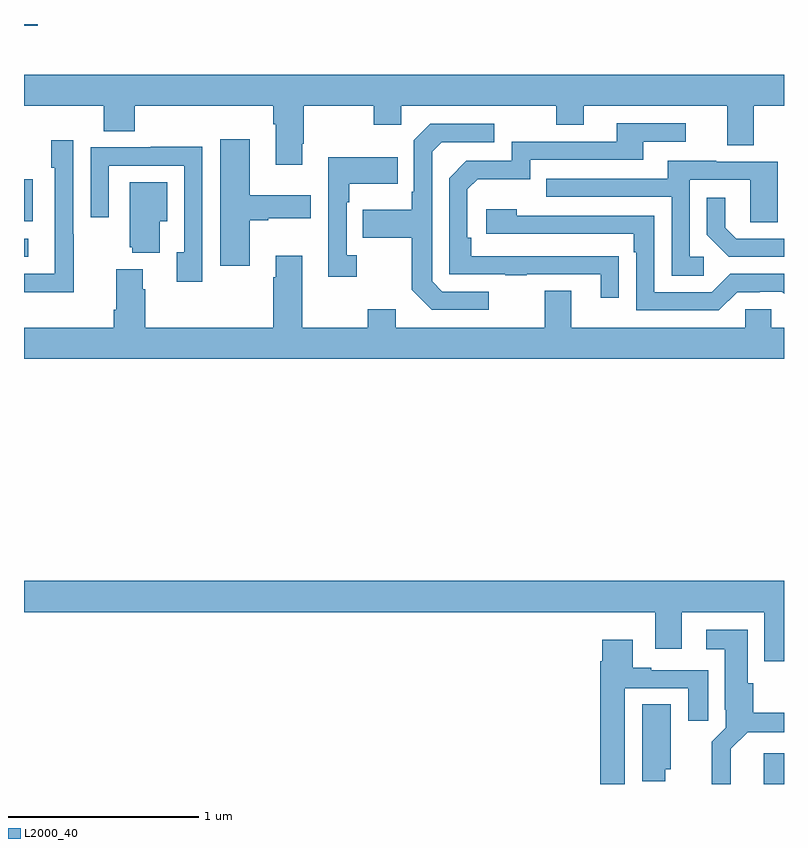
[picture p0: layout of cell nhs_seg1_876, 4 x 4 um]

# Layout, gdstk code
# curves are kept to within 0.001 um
import gdstk
lib = gdstk.Library(unit=1e-6, precision=1e-09)
def R(c, l, rs):  # rectangles x0, y0, x1, y1
    for r in rs: c.add(gdstk.rectangle(r[:2], r[2:], *l))
def P(c, l, *ps):  # polygons
    for p in ps: c.add(gdstk.Polygon(p, *l))
L2000_40 = (2000, 40)

nhs_seg1_876 = lib.new_cell('nhs_seg1_876')
R(nhs_seg1_876, L2000_40, [(162.893,512.199,163,512.362), (159,514.974,159.022,515.07), (159,515.162,159.046,515.381), (159,516.191,159.073,516.199)])
P(nhs_seg1_876, L2000_40, [(160.465,515.569),(160.473,515.569),(160.473,515.768),(160.84,515.768),(160.84,515.669),(160.986,515.669),(160.986,515.768),(161.8,515.768),(161.8,515.669),(161.947,515.669),(161.947,515.768),(162.701,515.768),(162.701,515.56),(162.841,515.56),(162.841,515.768),(163,515.768),(163,515.932),(159,515.932),(159,515.768),(159.419,515.768),(159.419,515.635),(159.584,515.635),(159.584,515.768),(160.313,515.768),(160.313,515.672),(160.325,515.672),(160.325,515.457),(160.465,515.457)],
  [(162.131,514.976),(161.354,514.977),(161.354,515.074),(161.334,515.074),(161.334,515.328),(161.387,515.381),(161.664,515.381),(161.664,515.484),(162.259,515.484),(162.259,515.58),(162.484,515.58),(162.484,515.676),(162.119,515.676),(162.119,515.58),(161.568,515.58),(161.568,515.478),(161.328,515.478),(161.238,515.388),(161.238,514.881),(161.533,514.881),(161.533,514.876),(161.645,514.876),(161.645,514.881),(162.035,514.881),(162.035,514.758),(162.131,514.758)],
  [(161.446,514.791),(161.202,514.791),(161.148,514.845),(161.148,515.526),(161.199,515.577),(161.476,515.577),(161.476,515.673),(161.139,515.673),(161.052,515.586),(161.052,515.317),(161.04,515.317),(161.04,515.221),(160.783,515.221),(160.783,515.074),(161.04,515.074),(161.04,514.801),(161.145,514.695),(161.446,514.695)],
  [(160.189,515.165),(160.285,515.165),(160.285,515.177),(160.51,515.177),(160.51,515.299),(160.189,515.299),(160.189,515.593),(160.034,515.593),(160.034,514.926),(160.189,514.926)],
  [(159.261,515.093),(159.258,515.093),(159.258,515.587),(159.143,515.587),(159.143,515.442),(159.162,515.442),(159.162,514.884),(159,514.884),(159,514.787),(159.261,514.787)],
  [(159.939,515.552),(159.667,515.552),(159.667,515.55),(159.351,515.55),(159.351,515.181),(159.447,515.181),(159.447,515.454),(159.843,515.454),(159.843,514.998),(159.803,514.998),(159.803,514.842),(159.939,514.842)],
  [(160.75,514.982),(160.698,514.982),(160.698,515.261),(160.711,515.261),(160.711,515.357),(160.967,515.357),(160.967,515.497),(160.602,515.497),(160.602,515.081),(160.601,515.081),(160.601,514.869),(160.75,514.869)],
  [(162.577,514.974),(162.504,514.974),(162.504,515.379),(162.822,515.379),(162.822,515.155),(162.967,515.155),(162.967,515.475),(162.643,515.475),(162.643,515.479),(162.389,515.479),(162.389,515.385),(161.749,515.385),(161.749,515.289),(162.408,515.289),(162.408,514.873),(162.577,514.873)],
  [(159.715,515.162),(159.754,515.162),(159.754,515.365),(159.557,515.365),(159.557,515.025),(159.569,515.025),(159.569,514.994),(159.715,514.994)],
  [(163,515.07),(162.748,515.07),(162.691,515.127),(162.691,515.284),(162.594,515.284),(162.594,515.09),(162.71,514.974),(163,514.974)],
  [(162.753,514.788),(162.872,514.788),(162.872,514.791),(162.987,514.791),(163,514.778),(163,514.884),(162.717,514.884),(162.621,514.788),(162.318,514.788),(162.318,515.19),(161.594,515.19),(161.594,515.224),(161.433,515.224),(161.433,515.094),(162.209,515.094),(162.209,514.997),(162.222,514.997),(162.222,514.692),(162.657,514.692)],
  [(163,514.6),(162.933,514.6),(162.933,514.698),(162.795,514.698),(162.795,514.6),(161.881,514.6),(161.881,514.795),(161.741,514.795),(161.741,514.6),(160.957,514.6),(160.957,514.699),(160.81,514.699),(160.81,514.6),(160.465,514.6),(160.465,514.978),(160.325,514.978),(160.325,514.865),(160.313,514.865),(160.313,514.6),(159.638,514.6),(159.638,514.802),(159.625,514.802),(159.625,514.909),(159.485,514.909),(159.485,514.696),(159.473,514.696),(159.473,514.6),(159,514.6),(159,514.436),(163,514.436)],
  [(163,513.268),(159,513.268),(159,513.104),(162.323,513.104),(162.323,512.91),(162.463,512.91),(162.463,513.104),(162.897,513.104),(162.897,512.844),(163,512.844)],
  [(162.721,512.384),(162.808,512.472),(163,512.472),(163,512.573),(162.839,512.573),(162.839,512.73),(162.808,512.73),(162.808,513.01),(162.591,513.01),(162.591,512.909),(162.689,512.909),(162.689,512.59),(162.693,512.59),(162.693,512.496),(162.619,512.422),(162.619,512.199),(162.721,512.199)],
  [(162.163,512.703),(162.497,512.703),(162.497,512.532),(162.601,512.532),(162.601,512.799),(162.301,512.799),(162.301,512.812),(162.205,512.812),(162.205,512.959),(162.044,512.959),(162.044,512.846),(162.032,512.846),(162.032,512.199),(162.163,512.199)],
  [(162.376,512.277),(162.403,512.277),(162.403,512.618),(162.254,512.618),(162.254,512.213),(162.376,512.213)])

lib.write_gds('nhs_seg1_876.gds')
